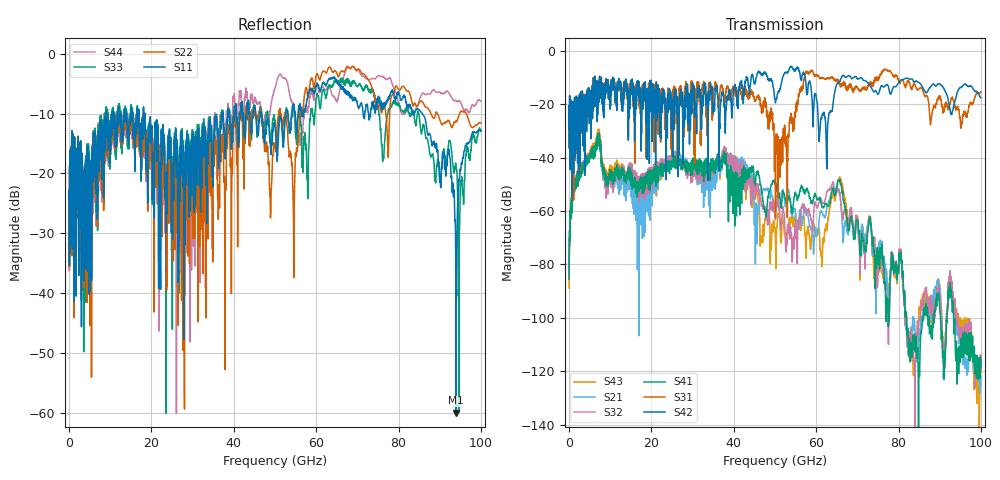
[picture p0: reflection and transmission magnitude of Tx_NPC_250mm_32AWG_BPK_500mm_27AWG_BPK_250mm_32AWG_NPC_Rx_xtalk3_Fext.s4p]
! Info: Touchstone file created by Circ.  Input file=Tx_NPC_250mm_32AWG_BPK_500mm_27AWG_BPK_250mm_32AWG_NPC_Rx.circ
# Hz S RI R 50
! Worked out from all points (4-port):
!   10000 points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, 10 MHz to 100 GHz, reference 50 ohm
!   strongest paths, dB at 10 MHz, 25.01 GHz, 50.01 GHz, 75.01 GHz, 100 GHz:
!     S42: -29.4, -18.4, -18.5, -16.2, -17.6
!     S31: -29.4, -22.8, -37.7, -10.4, -15.5
!     S41: -85.4, -41.2, -50.0, -79.7, -118.7
!     S32: -80.8, -40.0, -59.4, -84.8, -119.5
!     S21: -81.9, -38.8, -59.3, -76.3, -125.4
!     S43: -88.9, -40.6, -66.6, -82.3, -120.7
!   lowest |S11| = -60.0 dB at 93.97 GHz (marker M1), VSWR 1.00, Z = 49.9 + j0.0113 ohm
!   |S11| at or under -10 dB: start of sweep to 8.986 GHz; 18.46 GHz to 37.07 GHz (18.6 GHz wide, 67 % of centre); 85.77 GHz to end of sweep (the widest 3 of 49)
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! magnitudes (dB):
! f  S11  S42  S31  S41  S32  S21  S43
! 10 MHz  -24.5  -29.4  -29.4  -85.4  -80.8  -81.9  -88.9
! 7.01 GHz  -16.1  -11.6  -11.0  -33.3  -33.5  -34.1  -32.2
! 16.94 GHz  -9.3  -12.3  -13.4  -51.7  -51.5  -63.9  -56.8
! 51.12 GHz  -11.2  -14.7  -43.6  -55.0  -60.0  -57.0  -62.6
! 64.23 GHz  -4.0  -18.1  -10.3  -51.7  -49.6  -51.0  -53.0
! 93.97 GHz  -60.0  -17.1  -21.6  -113.0  -100.2  -102.2  -100.9
! 100 GHz  -12.9  -17.6  -15.5  -118.7  -119.5  -125.4  -120.7
